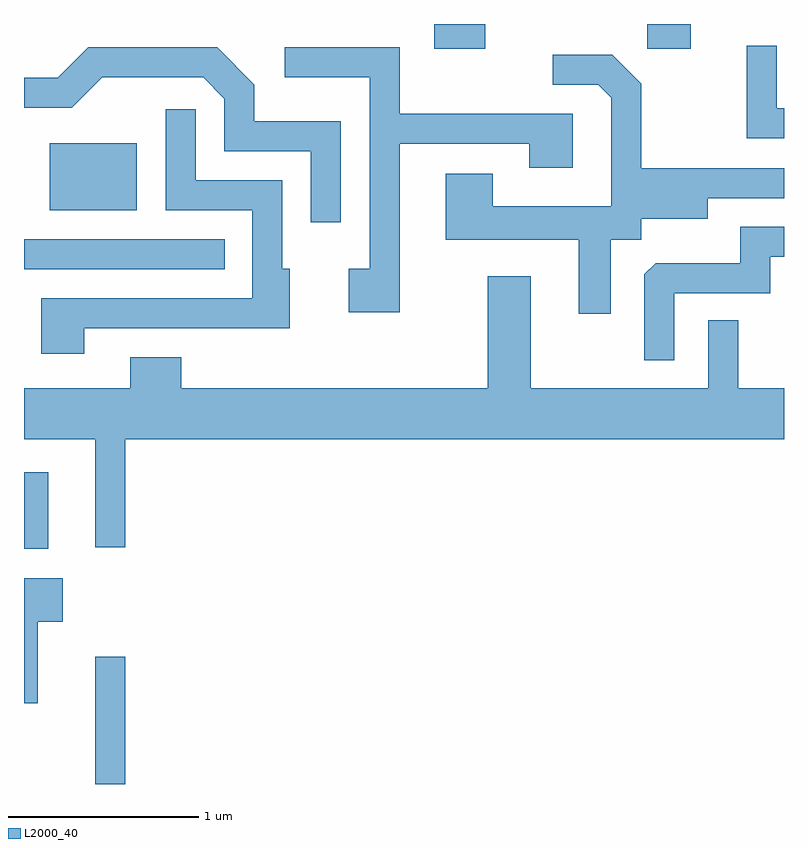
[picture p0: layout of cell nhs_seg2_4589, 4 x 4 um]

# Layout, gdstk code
import gdstk
lib = gdstk.Library(unit=1e-6, precision=1e-09)
def R(c, l, rs):  # rectangles x0, y0, x1, y1
    for r in rs: c.add(gdstk.rectangle(r[:2], r[2:], *l))
def P(c, l, *ps):  # polygons
    for p in ps: c.add(gdstk.Polygon(p, *l))
L2000_40 = (2000, 40)

nhs_seg2_4589 = lib.new_cell('nhs_seg2_4589')
R(nhs_seg2_4589, L2000_40, [(319.986,1079.802,320.144,1080.473), (319.611,1081.041,319.739,1081.444), (319.611,1082.511,320.668,1082.669), (319.746,1082.821,320.204,1083.174), (321.771,1083.671,322.039,1083.802), (322.891,1083.671,323.119,1083.802)])
P(nhs_seg2_4589, L2000_40, [(323.611,1083.359),(323.574,1083.359),(323.574,1083.688),(323.416,1083.688),(323.416,1083.201),(323.611,1083.201)],
  [(321.589,1083.171),(322.271,1083.171),(322.271,1083.046),(322.499,1083.046),(322.499,1083.329),(321.589,1083.329),(321.589,1083.679),(320.983,1083.679),(320.983,1083.521),(321.431,1083.521),(321.431,1082.514),(321.321,1082.514),(321.321,1082.286),(321.589,1082.286)],
  [(321.279,1083.289),(320.824,1083.289),(320.824,1083.482),(320.627,1083.679),(319.949,1083.679),(319.789,1083.519),(319.611,1083.519),(319.611,1083.361),(319.862,1083.361),(320.022,1083.521),(320.554,1083.521),(320.666,1083.409),(320.666,1083.131),(321.121,1083.131),(321.121,1082.758),(321.279,1082.758)],
  [(322.699,1082.666),(322.859,1082.666),(322.859,1082.776),(323.209,1082.776),(323.209,1082.886),(323.611,1082.886),(323.611,1083.044),(322.859,1083.044),(322.859,1083.487),(322.707,1083.639),(322.393,1083.639),(322.393,1083.481),(322.634,1083.481),(322.701,1083.414),(322.701,1082.844),(322.079,1082.844),(322.079,1083.014),(321.831,1083.014),(321.831,1082.666),(322.531,1082.666),(322.531,1082.278),(322.699,1082.278)],
  [(319.929,1082.201),(321.009,1082.201),(321.009,1082.514),(320.969,1082.514),(320.969,1082.979),(320.514,1082.979),(320.514,1083.353),(320.356,1083.353),(320.356,1082.821),(320.811,1082.821),(320.811,1082.359),(319.701,1082.359),(319.701,1082.066),(319.929,1082.066)],
  [(323.034,1082.386),(323.539,1082.386),(323.539,1082.576),(323.611,1082.576),(323.611,1082.734),(323.381,1082.734),(323.381,1082.544),(322.937,1082.544),(322.876,1082.484),(322.876,1082.033),(323.034,1082.033)],
  [(320.144,1081.616),(323.611,1081.616),(323.611,1081.884),(323.369,1081.884),(323.369,1082.243),(323.211,1082.243),(323.211,1081.884),(322.279,1081.884),(322.279,1082.474),(322.051,1082.474),(322.051,1081.884),(320.439,1081.884),(320.439,1082.049),(320.171,1082.049),(320.171,1081.884),(319.611,1081.884),(319.611,1081.616),(319.986,1081.616),(319.986,1081.048),(320.144,1081.048)],
  [(319.684,1080.656),(319.814,1080.656),(319.814,1080.884),(319.611,1080.884),(319.611,1080.228),(319.684,1080.228)])

lib.write_gds('nhs_seg2_4589.gds')
